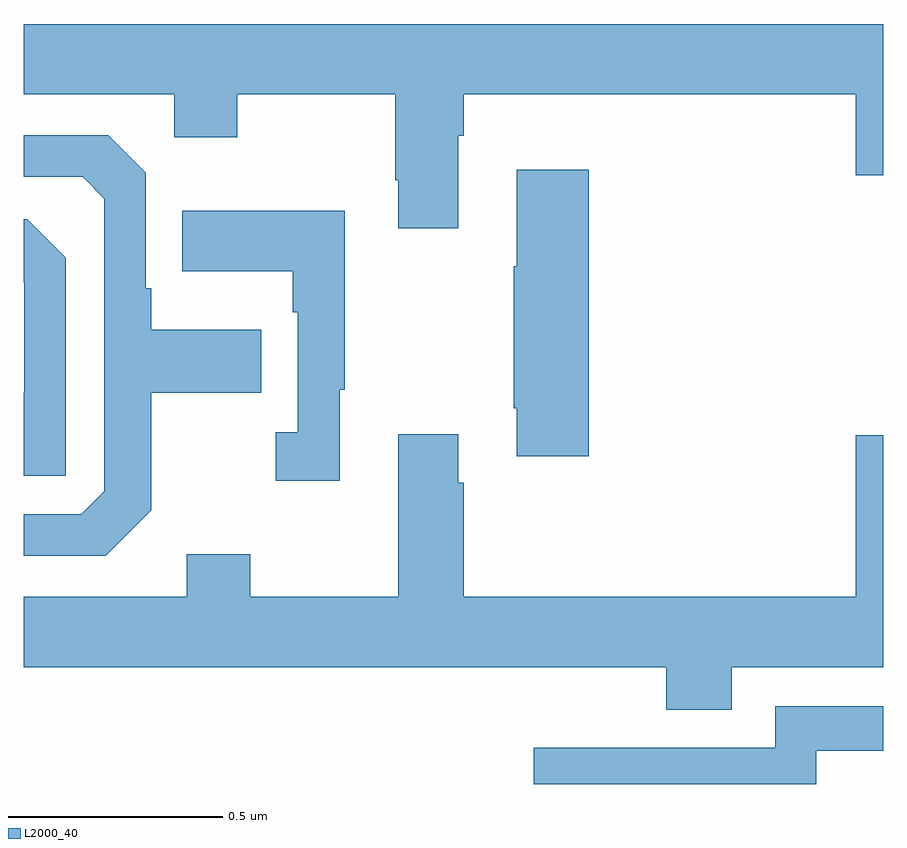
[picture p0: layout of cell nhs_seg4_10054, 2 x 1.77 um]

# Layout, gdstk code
import gdstk
lib = gdstk.Library(unit=1e-6, precision=1e-09)
def P(c, l, *ps):  # polygons
    for p in ps: c.add(gdstk.Polygon(p, *l))
L2000_40 = (2000, 40)

nhs_seg4_10054 = lib.new_cell('nhs_seg4_10054')
P(nhs_seg4_10054, L2000_40, [(236.011,779.408),(236.024,779.408),(236.024,779.504),(236.936,779.504),(236.936,779.316),(237,779.316),(237,779.668),(235,779.668),(235,779.504),(235.35,779.504),(235.35,779.405),(235.497,779.405),(235.497,779.504),(235.864,779.504),(235.864,779.305),(235.871,779.305),(235.871,779.193),(236.011,779.193)],
  [(235.297,778.537),(235.297,778.81),(235.553,778.81),(235.553,778.957),(235.297,778.957),(235.297,779.053),(235.284,779.053),(235.284,779.322),(235.197,779.409),(235,779.409),(235,779.313),(235.137,779.313),(235.188,779.262),(235.188,778.581),(235.134,778.527),(235,778.527),(235,778.431),(235.191,778.431)],
  [(236.315,779.329),(236.147,779.329),(236.147,779.105),(236.14,779.105),(236.14,778.774),(236.147,778.774),(236.147,778.662),(236.315,778.662)],
  [(235.735,778.817),(235.747,778.817),(235.747,779.233),(235.369,779.233),(235.369,779.093),(235.626,779.093),(235.626,778.997),(235.638,778.997),(235.638,778.718),(235.587,778.718),(235.587,778.605),(235.735,778.605)],
  [(235.098,779.124),(235.008,779.214),(235,779.214),(235,779.066),(235.002,779.064),(235.002,778.81),(235,778.81),(235,778.617),(235.098,778.617)],
  [(236.647,778.172),(237,778.172),(237,778.711),(236.936,778.711),(236.936,778.336),(236.024,778.336),(236.024,778.601),(236.011,778.601),(236.011,778.714),(235.871,778.714),(235.871,778.336),(235.527,778.336),(235.527,778.435),(235.379,778.435),(235.379,778.336),(235,778.336),(235,778.172),(236.495,778.172),(236.495,778.073),(236.647,778.073)],
  [(236.844,777.977),(237,777.977),(237,778.081),(236.748,778.081),(236.748,777.984),(236.187,777.984),(236.187,777.9),(236.844,777.9)])

lib.write_gds('nhs_seg4_10054.gds')
